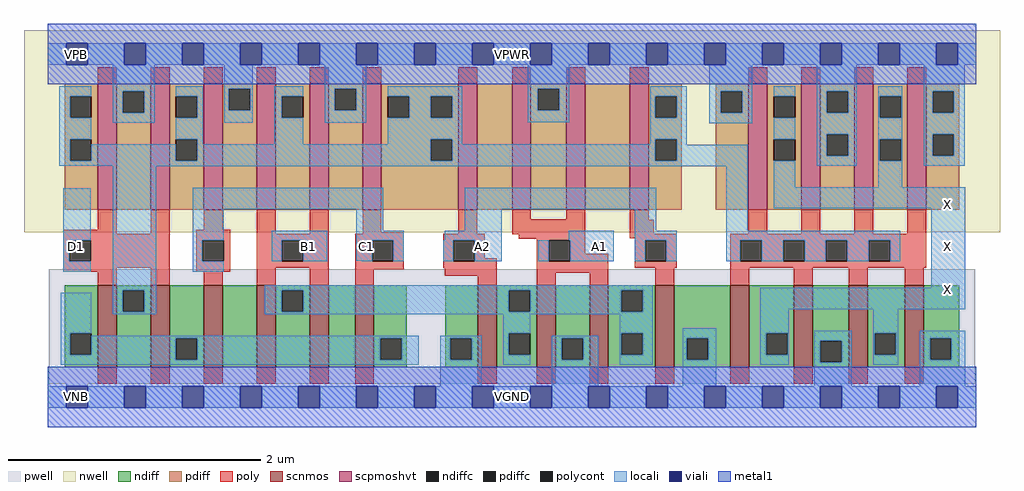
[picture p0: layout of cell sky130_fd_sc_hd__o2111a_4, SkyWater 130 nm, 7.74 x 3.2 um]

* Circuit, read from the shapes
.subckt sky130_fd_sc_hd__o2111a_4 A1 A2 B1 C1 D1 VGND VNB VPB VPWR X
XM1 n1 D1 n2 VNB sky130_fd_pr__nfet_01v8 w=0.65 l=0.15 m=2
XM2 n3 C1 n2 VNB sky130_fd_pr__nfet_01v8 w=0.65 l=0.15
XM3 n4 B1 n3 VNB sky130_fd_pr__nfet_01v8 w=0.65 l=0.15
XM4 n5 B1 n4 VNB sky130_fd_pr__nfet_01v8 w=0.65 l=0.15
XM5 n2 C1 n5 VNB sky130_fd_pr__nfet_01v8 w=0.65 l=0.15
XM6 n4 A2 VGND VNB sky130_fd_pr__nfet_01v8 w=0.65 l=0.15 m=2
XM7 VGND A1 n4 VNB sky130_fd_pr__nfet_01v8 w=0.65 l=0.15 m=2
XM8 X n1 VGND VNB sky130_fd_pr__nfet_01v8 w=0.65 l=0.15 m=4
XM9 VPWR D1 n1 VPB sky130_fd_pr__pfet_01v8_hvt w=1 l=0.15 m=2
XM10 VPWR C1 n1 VPB sky130_fd_pr__pfet_01v8_hvt w=1 l=0.15 m=2
XM11 n1 B1 VPWR VPB sky130_fd_pr__pfet_01v8_hvt w=1 l=0.15 m=2
XM12 n6 A2 n1 VPB sky130_fd_pr__pfet_01v8_hvt w=1 l=0.15
XM13 VPWR A1 n6 VPB sky130_fd_pr__pfet_01v8_hvt w=1 l=0.15
XM14 n7 A1 VPWR VPB sky130_fd_pr__pfet_01v8_hvt w=1 l=0.15
XM15 n1 A2 n7 VPB sky130_fd_pr__pfet_01v8_hvt w=1 l=0.15
XM16 X n1 VPWR VPB sky130_fd_pr__pfet_01v8_hvt w=1 l=0.15 m=4
.ends

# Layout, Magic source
magic
tech sky130A
magscale 1 2
<< nwell >>
rect -38 261 1510 582
<< pwell >>
rect 1 21 1471 203
rect 29 -17 63 21
<< scnmos >>
rect 79 47 109 177
rect 163 47 193 177
rect 247 47 277 177
rect 331 47 361 177
rect 415 47 445 177
rect 487 47 517 177
rect 682 47 712 177
rect 775 47 805 177
rect 859 47 889 177
rect 963 47 993 177
rect 1082 47 1112 177
rect 1183 47 1213 177
rect 1270 47 1300 177
rect 1359 47 1389 177
<< scpmoshvt >>
rect 79 297 109 497
rect 163 297 193 497
rect 247 297 277 497
rect 331 297 361 497
rect 415 297 445 497
rect 499 297 529 497
rect 651 297 681 497
rect 736 297 766 497
rect 822 297 852 497
rect 923 297 953 497
rect 1111 297 1141 497
rect 1195 297 1225 497
rect 1279 297 1309 497
rect 1363 297 1393 497
<< ndiff >>
rect 27 101 79 177
rect 27 67 35 101
rect 69 67 79 101
rect 27 47 79 67
rect 109 169 163 177
rect 109 135 119 169
rect 153 135 163 169
rect 109 47 163 135
rect 193 93 247 177
rect 193 59 203 93
rect 237 59 247 93
rect 193 47 247 59
rect 277 47 331 177
rect 361 169 415 177
rect 361 135 371 169
rect 405 135 415 169
rect 361 47 415 135
rect 445 47 487 177
rect 517 93 569 177
rect 517 59 527 93
rect 561 59 569 93
rect 517 47 569 59
rect 630 93 682 177
rect 630 59 638 93
rect 672 59 682 93
rect 630 47 682 59
rect 712 169 775 177
rect 712 135 731 169
rect 765 135 775 169
rect 712 101 775 135
rect 712 67 731 101
rect 765 67 775 101
rect 712 47 775 67
rect 805 93 859 177
rect 805 59 815 93
rect 849 59 859 93
rect 805 47 859 59
rect 889 169 963 177
rect 889 135 909 169
rect 943 135 963 169
rect 889 101 963 135
rect 889 67 909 101
rect 943 67 963 101
rect 889 47 963 67
rect 993 93 1082 177
rect 993 59 1013 93
rect 1047 59 1082 93
rect 993 47 1082 59
rect 1112 101 1183 177
rect 1112 67 1139 101
rect 1173 67 1183 101
rect 1112 47 1183 67
rect 1213 89 1270 177
rect 1213 55 1225 89
rect 1259 55 1270 89
rect 1213 47 1270 55
rect 1300 101 1359 177
rect 1300 67 1311 101
rect 1345 67 1359 101
rect 1300 47 1359 67
rect 1389 93 1445 177
rect 1389 59 1399 93
rect 1433 59 1445 93
rect 1389 47 1445 59
<< pdiff >>
rect 27 477 79 497
rect 27 443 35 477
rect 69 443 79 477
rect 27 409 79 443
rect 27 375 35 409
rect 69 375 79 409
rect 27 297 79 375
rect 109 485 163 497
rect 109 451 119 485
rect 153 451 163 485
rect 109 297 163 451
rect 193 477 247 497
rect 193 443 203 477
rect 237 443 247 477
rect 193 409 247 443
rect 193 375 203 409
rect 237 375 247 409
rect 193 297 247 375
rect 277 489 331 497
rect 277 455 287 489
rect 321 455 331 489
rect 277 297 331 455
rect 361 477 415 497
rect 361 443 371 477
rect 405 443 415 477
rect 361 297 415 443
rect 445 489 499 497
rect 445 455 455 489
rect 489 455 499 489
rect 445 297 499 455
rect 529 477 651 497
rect 529 443 539 477
rect 573 443 607 477
rect 641 443 651 477
rect 529 409 651 443
rect 529 375 607 409
rect 641 375 651 409
rect 529 297 651 375
rect 681 297 736 497
rect 766 489 822 497
rect 766 455 777 489
rect 811 455 822 489
rect 766 297 822 455
rect 852 297 923 497
rect 953 477 1005 497
rect 953 443 963 477
rect 997 443 1005 477
rect 953 409 1005 443
rect 953 375 963 409
rect 997 375 1005 409
rect 953 297 1005 375
rect 1059 485 1111 497
rect 1059 451 1067 485
rect 1101 451 1111 485
rect 1059 297 1111 451
rect 1141 477 1195 497
rect 1141 443 1151 477
rect 1185 443 1195 477
rect 1141 409 1195 443
rect 1141 375 1151 409
rect 1185 375 1195 409
rect 1141 297 1195 375
rect 1225 485 1279 497
rect 1225 451 1235 485
rect 1269 451 1279 485
rect 1225 417 1279 451
rect 1225 383 1235 417
rect 1269 383 1279 417
rect 1225 297 1279 383
rect 1309 477 1363 497
rect 1309 443 1319 477
rect 1353 443 1363 477
rect 1309 409 1363 443
rect 1309 375 1319 409
rect 1353 375 1363 409
rect 1309 297 1363 375
rect 1393 485 1445 497
rect 1393 451 1403 485
rect 1437 451 1445 485
rect 1393 417 1445 451
rect 1393 383 1403 417
rect 1437 383 1445 417
rect 1393 297 1445 383
<< ndiffc >>
rect 35 67 69 101
rect 119 135 153 169
rect 203 59 237 93
rect 371 135 405 169
rect 527 59 561 93
rect 638 59 672 93
rect 731 135 765 169
rect 731 67 765 101
rect 815 59 849 93
rect 909 135 943 169
rect 909 67 943 101
rect 1013 59 1047 93
rect 1139 67 1173 101
rect 1225 55 1259 89
rect 1311 67 1345 101
rect 1399 59 1433 93
<< pdiffc >>
rect 35 443 69 477
rect 35 375 69 409
rect 119 451 153 485
rect 203 443 237 477
rect 203 375 237 409
rect 287 455 321 489
rect 371 443 405 477
rect 455 455 489 489
rect 539 443 573 477
rect 607 443 641 477
rect 607 375 641 409
rect 777 455 811 489
rect 963 443 997 477
rect 963 375 997 409
rect 1067 451 1101 485
rect 1151 443 1185 477
rect 1151 375 1185 409
rect 1235 451 1269 485
rect 1235 383 1269 417
rect 1319 443 1353 477
rect 1319 375 1353 409
rect 1403 451 1437 485
rect 1403 383 1437 417
<< poly >>
rect 79 497 109 523
rect 163 497 193 523
rect 247 497 277 523
rect 331 497 361 523
rect 415 497 445 523
rect 499 497 529 523
rect 651 497 681 523
rect 736 497 766 523
rect 822 497 852 523
rect 923 497 953 523
rect 1111 497 1141 523
rect 1195 497 1225 523
rect 1279 497 1309 523
rect 1363 497 1393 523
rect 79 265 109 297
rect 24 259 109 265
rect 163 259 193 297
rect 247 265 277 297
rect 24 249 193 259
rect 24 215 34 249
rect 68 215 193 249
rect 24 205 193 215
rect 24 199 109 205
rect 79 177 109 199
rect 163 177 193 205
rect 235 249 289 265
rect 235 215 245 249
rect 279 215 289 249
rect 235 199 289 215
rect 331 259 361 297
rect 415 259 445 297
rect 499 261 529 297
rect 499 259 564 261
rect 651 259 681 297
rect 736 282 766 297
rect 822 282 852 297
rect 331 249 445 259
rect 331 215 371 249
rect 405 215 445 249
rect 331 205 445 215
rect 247 177 277 199
rect 331 177 361 205
rect 415 177 445 205
rect 487 249 564 259
rect 487 215 514 249
rect 548 215 564 249
rect 487 203 564 215
rect 627 249 693 259
rect 736 258 852 282
rect 747 251 852 258
rect 923 281 953 297
rect 923 259 961 281
rect 1111 259 1141 297
rect 1195 259 1225 297
rect 1279 259 1309 297
rect 1363 259 1393 297
rect 923 252 997 259
rect 627 215 643 249
rect 677 220 693 249
rect 775 249 852 251
rect 677 215 712 220
rect 627 205 712 215
rect 487 177 517 203
rect 629 192 712 205
rect 682 177 712 192
rect 775 215 794 249
rect 828 227 852 249
rect 931 249 997 252
rect 828 215 889 227
rect 775 197 889 215
rect 931 215 947 249
rect 981 215 997 249
rect 931 205 997 215
rect 1082 249 1393 259
rect 1082 215 1098 249
rect 1132 215 1166 249
rect 1200 215 1234 249
rect 1268 215 1302 249
rect 1336 215 1393 249
rect 1082 205 1393 215
rect 775 177 805 197
rect 859 177 889 197
rect 963 177 993 205
rect 1082 177 1112 205
rect 1183 177 1213 205
rect 1270 177 1300 205
rect 1359 177 1389 205
rect 79 21 109 47
rect 163 21 193 47
rect 247 21 277 47
rect 331 21 361 47
rect 415 21 445 47
rect 487 21 517 47
rect 682 21 712 47
rect 775 21 805 47
rect 859 21 889 47
rect 963 21 993 47
rect 1082 21 1112 47
rect 1183 21 1213 47
rect 1270 21 1300 47
rect 1359 21 1389 47
<< polycont >>
rect 34 215 68 249
rect 245 215 279 249
rect 371 215 405 249
rect 514 215 548 249
rect 643 215 677 249
rect 794 215 828 249
rect 947 215 981 249
rect 1098 215 1132 249
rect 1166 215 1200 249
rect 1234 215 1268 249
rect 1302 215 1336 249
<< locali >>
rect 0 527 29 561
rect 63 527 121 561
rect 155 527 213 561
rect 247 527 305 561
rect 339 527 397 561
rect 431 527 489 561
rect 523 527 581 561
rect 615 527 673 561
rect 707 527 765 561
rect 799 527 857 561
rect 891 527 949 561
rect 983 527 1041 561
rect 1075 527 1133 561
rect 1167 527 1225 561
rect 1259 527 1317 561
rect 1351 527 1409 561
rect 1443 527 1472 561
rect 18 477 69 493
rect 18 443 35 477
rect 18 409 69 443
rect 103 485 169 527
rect 103 451 119 485
rect 153 451 169 485
rect 103 435 169 451
rect 203 477 246 493
rect 237 443 246 477
rect 18 375 35 409
rect 203 409 246 443
rect 280 489 325 527
rect 280 455 287 489
rect 321 455 325 489
rect 280 435 325 455
rect 359 477 405 493
rect 359 443 371 477
rect 69 375 203 401
rect 237 401 246 409
rect 359 401 405 443
rect 439 489 505 527
rect 439 455 455 489
rect 489 455 505 489
rect 439 435 505 455
rect 539 477 657 493
rect 573 443 607 477
rect 641 443 657 477
rect 539 409 657 443
rect 761 489 827 527
rect 761 455 777 489
rect 811 455 827 489
rect 761 436 827 455
rect 955 477 1013 493
rect 955 443 963 477
rect 997 443 1013 477
rect 539 401 607 409
rect 237 375 607 401
rect 641 401 657 409
rect 955 409 1013 443
rect 1049 485 1117 527
rect 1049 451 1067 485
rect 1101 451 1117 485
rect 1049 434 1117 451
rect 1151 477 1185 493
rect 955 401 963 409
rect 641 375 963 401
rect 997 400 1013 409
rect 1151 409 1185 443
rect 997 375 1110 400
rect 18 367 1110 375
rect 103 366 1110 367
rect 24 249 68 331
rect 24 215 34 249
rect 24 199 68 215
rect 103 169 172 366
rect 230 298 532 332
rect 230 249 279 298
rect 489 264 532 298
rect 661 298 965 332
rect 661 264 720 298
rect 931 264 965 298
rect 1076 264 1110 366
rect 1151 333 1185 375
rect 1219 485 1283 527
rect 1219 451 1235 485
rect 1269 451 1283 485
rect 1219 417 1283 451
rect 1219 383 1235 417
rect 1269 383 1283 417
rect 1219 367 1283 383
rect 1317 477 1355 493
rect 1317 443 1319 477
rect 1353 443 1355 477
rect 1317 409 1355 443
rect 1317 375 1319 409
rect 1353 375 1355 409
rect 1317 333 1355 375
rect 1389 485 1454 527
rect 1389 451 1403 485
rect 1437 451 1454 485
rect 1389 417 1454 451
rect 1389 383 1403 417
rect 1437 383 1454 417
rect 1389 367 1454 383
rect 1151 299 1455 333
rect 230 215 245 249
rect 355 249 443 264
rect 355 215 371 249
rect 405 215 443 249
rect 489 249 564 264
rect 629 249 720 264
rect 826 249 897 264
rect 489 216 514 249
rect 498 215 514 216
rect 548 215 564 249
rect 627 215 643 249
rect 677 215 720 249
rect 778 215 794 249
rect 828 215 897 249
rect 931 249 997 264
rect 931 215 947 249
rect 981 215 997 249
rect 1076 249 1352 264
rect 1076 215 1098 249
rect 1132 215 1166 249
rect 1200 215 1234 249
rect 1268 215 1302 249
rect 1336 215 1352 249
rect 230 199 279 215
rect 20 101 69 165
rect 103 135 119 169
rect 153 135 172 169
rect 103 131 172 135
rect 344 169 959 177
rect 1401 173 1455 299
rect 344 135 371 169
rect 405 135 731 169
rect 765 135 909 169
rect 943 135 959 169
rect 344 131 959 135
rect 20 67 35 101
rect 722 101 765 131
rect 69 93 588 97
rect 69 67 203 93
rect 20 59 203 67
rect 237 59 527 93
rect 561 59 588 93
rect 20 51 588 59
rect 622 93 688 97
rect 622 59 638 93
rect 672 59 688 93
rect 622 17 688 59
rect 722 67 731 101
rect 907 101 959 131
rect 1130 139 1455 173
rect 722 51 765 67
rect 799 93 873 97
rect 799 59 815 93
rect 849 59 873 93
rect 799 17 873 59
rect 907 67 909 101
rect 943 67 959 101
rect 907 51 959 67
rect 1007 93 1060 109
rect 1007 59 1013 93
rect 1047 59 1060 93
rect 1007 17 1060 59
rect 1130 101 1175 139
rect 1130 67 1139 101
rect 1173 67 1175 101
rect 1130 51 1175 67
rect 1215 89 1275 105
rect 1215 55 1225 89
rect 1259 55 1275 89
rect 1215 17 1275 55
rect 1309 101 1349 139
rect 1309 67 1311 101
rect 1345 67 1349 101
rect 1309 51 1349 67
rect 1383 93 1455 105
rect 1383 59 1399 93
rect 1433 59 1455 93
rect 1383 17 1455 59
rect 0 -17 29 17
rect 63 -17 121 17
rect 155 -17 213 17
rect 247 -17 305 17
rect 339 -17 397 17
rect 431 -17 489 17
rect 523 -17 581 17
rect 615 -17 673 17
rect 707 -17 765 17
rect 799 -17 857 17
rect 891 -17 949 17
rect 983 -17 1041 17
rect 1075 -17 1133 17
rect 1167 -17 1225 17
rect 1259 -17 1317 17
rect 1351 -17 1409 17
rect 1443 -17 1472 17
<< viali >>
rect 29 527 63 561
rect 121 527 155 561
rect 213 527 247 561
rect 305 527 339 561
rect 397 527 431 561
rect 489 527 523 561
rect 581 527 615 561
rect 673 527 707 561
rect 765 527 799 561
rect 857 527 891 561
rect 949 527 983 561
rect 1041 527 1075 561
rect 1133 527 1167 561
rect 1225 527 1259 561
rect 1317 527 1351 561
rect 1409 527 1443 561
rect 29 -17 63 17
rect 121 -17 155 17
rect 213 -17 247 17
rect 305 -17 339 17
rect 397 -17 431 17
rect 489 -17 523 17
rect 581 -17 615 17
rect 673 -17 707 17
rect 765 -17 799 17
rect 857 -17 891 17
rect 949 -17 983 17
rect 1041 -17 1075 17
rect 1133 -17 1167 17
rect 1225 -17 1259 17
rect 1317 -17 1351 17
rect 1409 -17 1443 17
<< metal1 >>
rect 0 561 1472 592
rect 0 527 29 561
rect 63 527 121 561
rect 155 527 213 561
rect 247 527 305 561
rect 339 527 397 561
rect 431 527 489 561
rect 523 527 581 561
rect 615 527 673 561
rect 707 527 765 561
rect 799 527 857 561
rect 891 527 949 561
rect 983 527 1041 561
rect 1075 527 1133 561
rect 1167 527 1225 561
rect 1259 527 1317 561
rect 1351 527 1409 561
rect 1443 527 1472 561
rect 0 496 1472 527
rect 0 17 1472 48
rect 0 -17 29 17
rect 63 -17 121 17
rect 155 -17 213 17
rect 247 -17 305 17
rect 339 -17 397 17
rect 431 -17 489 17
rect 523 -17 581 17
rect 615 -17 673 17
rect 707 -17 765 17
rect 799 -17 857 17
rect 891 -17 949 17
rect 983 -17 1041 17
rect 1075 -17 1133 17
rect 1167 -17 1225 17
rect 1259 -17 1317 17
rect 1351 -17 1409 17
rect 1443 -17 1472 17
rect 0 -48 1472 -17
<< labels >>
flabel locali s 1409 153 1443 187 0 FreeSans 400 0 0 0 X
port 10 nsew signal output
flabel locali s 1409 221 1443 255 0 FreeSans 400 0 0 0 X
port 10 nsew signal output
flabel locali s 1409 289 1443 323 0 FreeSans 400 0 0 0 X
port 10 nsew signal output
flabel locali s 857 221 891 255 0 FreeSans 400 0 0 0 A1
port 1 nsew signal input
flabel locali s 673 221 707 255 0 FreeSans 400 0 0 0 A2
port 2 nsew signal input
flabel locali s 489 221 523 255 0 FreeSans 400 0 0 0 C1
port 4 nsew signal input
flabel locali s 397 221 431 255 0 FreeSans 400 0 0 0 B1
port 3 nsew signal input
flabel locali s 29 221 63 255 0 FreeSans 400 0 0 0 D1
port 5 nsew signal input
flabel pwell s 29 -17 63 17 0 FreeSans 200 0 0 0 VNB
port 7 nsew ground bidirectional
flabel nwell s 29 527 63 561 0 FreeSans 200 0 0 0 VPB
port 8 nsew power bidirectional
flabel metal1 s 29 527 63 561 0 FreeSans 200 0 0 0 VPWR
port 9 nsew power bidirectional abutment
flabel metal1 s 29 -17 63 17 0 FreeSans 200 0 0 0 VGND
port 6 nsew ground bidirectional abutment
rlabel comment s 0 0 0 0 4 o2111a_4
rlabel metal1 s 0 -48 1472 48 1 VGND
port 6 nsew ground bidirectional abutment
rlabel metal1 s 0 496 1472 592 1 VPWR
port 9 nsew power bidirectional abutment
<< properties >>
string FIXED_BBOX 0 0 1472 544
string GDS_END 859198
string GDS_FILE $PDKPATH/libs.ref/sky130_fd_sc_hd/gds/sky130_fd_sc_hd.gds
string GDS_START 848272
string LEFclass CORE
string LEFsite unithd
string LEFsymmetry X Y R90
string path 0.000 0.000 7.360 0.000 
<< end >>
